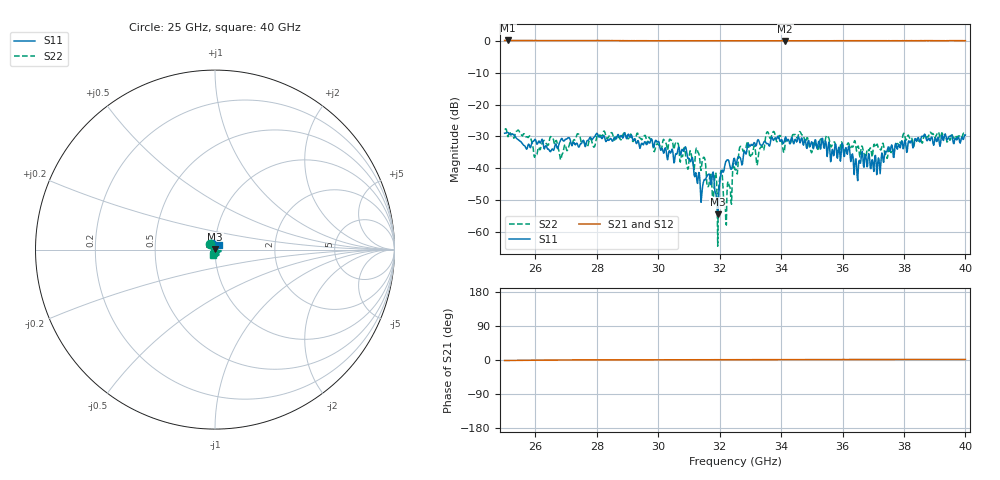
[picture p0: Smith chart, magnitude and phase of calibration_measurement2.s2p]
!Keysight Technologies,N5225A,MY55451607,A.10.47.03
!Date: Friday, May 31, 2024 10:46:05
!Correction: S11(Full 2 Port(1,2))
!S21(Full 2 Port(1,2))
!S12(Full 2 Port(1,2))
!S22(Full 2 Port(1,2))
!S2P File: Measurements: S11, S21, S12, S22:
# Hz S  RI  R 50
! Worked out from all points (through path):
!   801 points, 25 GHz to 40 GHz, reference 50 ohm
!   highest |S21| = 0.10 dB at 25.11 GHz (marker M1); lowest = 0.0 dB at 34.13 GHz (marker M2)
!   lowest |S11| = -54.5 dB at 31.94 GHz (marker M3), VSWR 1.00, Z = 50.2 + j0.102 ohm
!   |S11| at or under -10 dB: start of sweep to end of sweep
!   |S22| runs from -64.5 to -27.6 dB; largest |S21 - S12| = 0.01
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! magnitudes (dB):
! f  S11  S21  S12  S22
! 25 GHz  -29.0  0.1  0.1  -27.8
! 25.11 GHz  -28.8  0.1  0.1  -30.1
! 26.01 GHz  -31.2  0.1  0.0  -35.5
! 27.51 GHz  -32.0  0.1  0.0  -31.9
! 30.01 GHz  -31.6  0.0  0.0  -32.7
! 30.85 GHz  -34.2  0.0  0.0  -33.5
! 31.28 GHz  -44.8  0.0  0.0  -34.5
! 31.73 GHz  -45.1  0.0  0.0  -43.2
! 31.94 GHz  -54.5  0.0  0.0  -64.5
! 32.05 GHz  -41.3  0.0  0.0  -40.7
! 32.2 GHz  -37.8  0.0  0.0  -56.5
! 32.5 GHz  -37.6  0.0  0.0  -40.5
! 32.71 GHz  -38.1  0.0  0.0  -33.2
! 33.25 GHz  -31.0  0.0  0.0  -37.1
! 33.57 GHz  -32.2  0.0  0.0  -28.6
! 34.13 GHz  -30.5  0.0  0.0  -32.5
! 34.64 GHz  -31.5  0.0  0.0  -28.8
! 35.01 GHz  -31.9  0.0  0.0  -34.6
! 36.16 GHz  -35.6  0.0  0.0  -32.5
! 36.44 GHz  -37.1  0.0  0.0  -33.4
! 37.51 GHz  -33.4  0.0  0.0  -33.5
! 40 GHz  -29.6  0.0  0.1  -29.6
